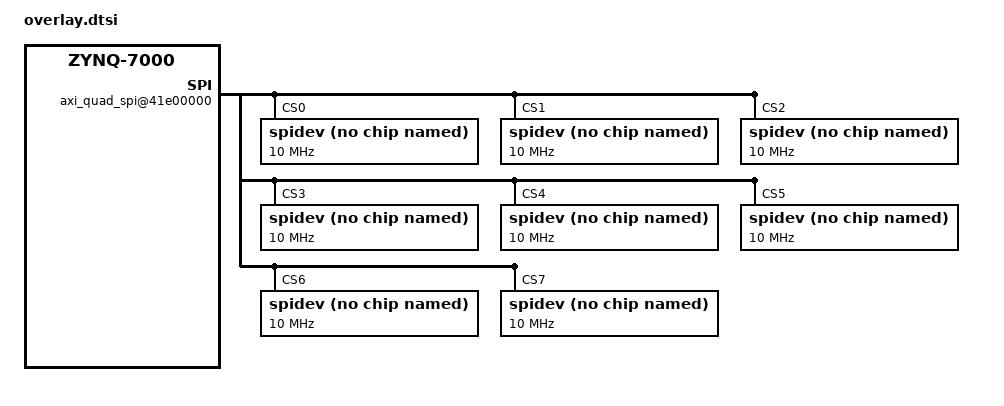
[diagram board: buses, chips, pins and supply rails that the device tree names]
/dts-v1/;
/plugin/;

/{ 
        compatible = "xlnx,zynq-7000";

        fragment@0 {
                target = <&amba>;

                __overlay__ {
                        axi_quad_spi@41e00000 {                                           
                                compatible = "xlnx,axi-quad-spi-3.2\0xlnx,xps-spi-2.00.a";   
                                xlnx,spi-mode = <0x00>;                                   
                                clocks = <0x01 0x0f 0x01 0x0f>;                           
                                bits-per-word = <0x08>;                                   
                                clock-names = "ext_spi_clk\0s_axi_aclk";
                                fifo-size = <0x010>;                     
                                xlnx,num-ss-bits = <0x08>;              
                                interrupt-parent = <0x04>;
                                interrupts = <0x00 0x1d 0x04>;
                                phandle = <0x4c>;                                   
                                reg = <0x41e00000 0x10000>;          
                                interrupt-names = "ip2intc_irpt";          
                                num-cs = <0x08>;
                                spidev@0 {
                                        status="okay";
                                        compatible = "rohm,dh2228fv";
                                        spi-max-frequency = <10000000>;
                                        reg = <0>;
                                };
                                spidev@1 {
                                        status="okay";
                                        compatible = "rohm,dh2228fv";
                                        spi-max-frequency = <10000000>;
                                        reg = <1>;
                                };
                                spidev@2 {
                                        status="okay";
                                        compatible = "rohm,dh2228fv";
                                        spi-max-frequency = <10000000>;
                                        reg = <2>;
                                };
                                spidev@3 {
                                        status="okay";
                                        compatible = "rohm,dh2228fv";
                                        spi-max-frequency = <10000000>;
                                        reg = <3>;
                                };
                                spidev@4 {
                                        status="okay";
                                        compatible = "rohm,dh2228fv";
                                        spi-max-frequency = <10000000>;
                                        reg = <4>;
                                };
                                spidev@5 {
                                        status="okay";
                                        compatible = "rohm,dh2228fv";
                                        spi-max-frequency = <10000000>;
                                        reg = <5>;
                                };
                                spidev@6 {
                                        status="okay";
                                        compatible = "rohm,dh2228fv";
                                        spi-max-frequency = <10000000>;
                                        reg = <6>;
                                };
                                spidev@7 {
                                        status="okay";
                                        compatible = "rohm,dh2228fv";
                                        spi-max-frequency = <10000000>;
                                        reg = <7>;
                                };
                        };
                };
        };
};
